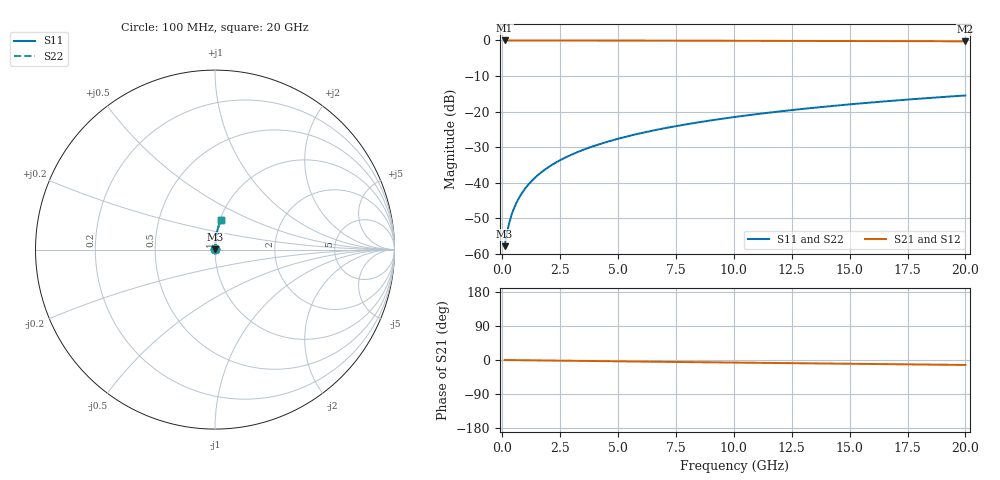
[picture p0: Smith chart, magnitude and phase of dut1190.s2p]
! Touchstone file exported from HFSS 2024.1.0
!  File:  C:/UserFiles/LocalFiles/RDL_TSV_Batchsim/temp_RDL_bottom_1190_1780057615.aedt
!  Generated:  08:28:55 PM May 29, 2026
!  Design:  RDL_bottom
!  Project:  temp_RDL_bottom_1190_1780057615
!  Setup:  Setup1
!  Solution:  Sweep
! Variables:
!  dtsv = 10.80580581um
!  hbump = 3um
!  htsv = 75.64um
!  ldown = 143.35um
!  lrdl = 100um
!  p = 40
!  p1 = 44.79um
!  rhole = 1um
!  t = 450um
!  tdown = 4.83um
!  trdl = 3.915915916um
!  wdown = 12.51um
!  wrdl = 20um
# GHz S MA R 50.000000
! Terminal data exported
! Port[1] = RDL1_T1
! Port[2] = RDL1_T2
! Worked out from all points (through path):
!   200 points, 100 MHz to 20 GHz, reference 50 ohm
!   highest |S21| = -0.01 dB at 100 MHz (marker M1); lowest = -0.2 dB at 20 GHz (marker M2)
!   group delay of S21, straight-line fit = 1.8 ps
!   lowest |S11| = -57.8 dB at 100 MHz (marker M3), VSWR 1.00, Z = 50.1 + j0.0863 ohm
!   |S11| at or under -10 dB: start of sweep to end of sweep
!   |S22| runs from -57.8 to -15.5 dB; largest |S21 - S12| = 2.1e-15
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0.1  0.001288 42.0  0.999 -0.1  0.999 -0.1  0.001288 42.0
! Gamma 0 0 0 0
! Port Impedance 50 0 50 0
0.2  0.001973 60.2  0.999 -0.1  0.999 -0.1  0.001973 60.2
0.3  0.002743 68.5  0.999 -0.2  0.999 -0.2  0.002743 68.5
0.4  0.003537 73.1  0.999 -0.3  0.999 -0.3  0.003537 73.1
0.5  0.004339 76.0  0.9989 -0.4  0.9989 -0.4  0.004339 76.0
0.6  0.005148 78.0  0.9989 -0.4  0.9989 -0.4  0.005148 78.0
0.8  0.006775 80.6  0.9988 -0.6  0.9988 -0.6  0.006775 80.6
1.1  0.009233 82.8  0.9987 -0.8  0.9987 -0.8  0.009233 82.8
1.5  0.01253 84.4  0.9986 -1.1  0.9986 -1.1  0.01253 84.4
1.8  0.015 85.0  0.9984 -1.3  0.9984 -1.3  0.015 85.0
2.1  0.01748 85.5  0.9983 -1.5  0.9983 -1.5  0.01748 85.5
2.7  0.02245 86.0  0.9978 -1.9  0.9978 -1.9  0.02245 86.0
3.5  0.02908 86.2  0.9972 -2.5  0.9972 -2.5  0.02908 86.2
4.2  0.03489 86.3  0.9965 -3.0  0.9965 -3.0  0.03489 86.3
5  0.04156 86.2  0.9956 -3.5  0.9956 -3.5  0.04156 86.2
5.9  0.04908 86.0  0.9945 -4.1  0.9945 -4.1  0.04908 86.0
6.8  0.05663 85.8  0.9934 -4.7  0.9934 -4.7  0.05663 85.8
8.3  0.0693 85.2  0.9913 -5.7  0.9913 -5.7  0.0693 85.2
10.1  0.0846 84.4  0.9888 -6.9  0.9888 -6.9  0.0846 84.4
13.4  0.1128 82.6  0.9837 -9.0  0.9837 -9.0  0.1128 82.6
16.7  0.1409 80.6  0.9783 -11.0  0.9783 -11.0  0.1409 80.6
20  0.1686 78.6  0.9725 -13.1  0.9725 -13.1  0.1686 78.6
